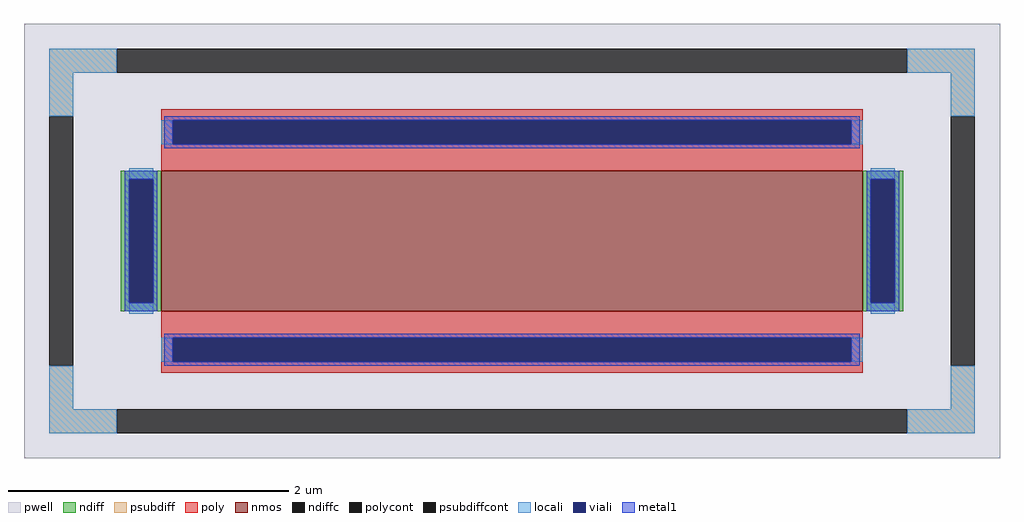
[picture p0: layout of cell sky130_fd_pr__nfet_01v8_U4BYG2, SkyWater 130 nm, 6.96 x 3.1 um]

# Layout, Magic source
magic
tech sky130A
<< pwell >>
rect -348 -155 348 155
<< nmos >>
rect -250 -50 250 50
<< ndiff >>
rect -279 44 -250 50
rect -279 -44 -273 44
rect -256 -44 -250 44
rect -279 -50 -250 -44
rect 250 44 279 50
rect 250 -44 256 44
rect 273 -44 279 44
rect 250 -50 279 -44
<< ndiffc >>
rect -273 -44 -256 44
rect 256 -44 273 44
<< psubdiff >>
rect -330 120 -282 137
rect 282 120 330 137
rect -330 89 -313 120
rect 313 89 330 120
rect -330 -120 -313 -89
rect 313 -120 330 -89
rect -330 -137 -282 -120
rect 282 -137 330 -120
<< psubdiffcont >>
rect -282 120 282 137
rect -330 -89 -313 89
rect 313 -89 330 89
rect -282 -137 282 -120
<< poly >>
rect -250 86 250 94
rect -250 69 -242 86
rect 242 69 250 86
rect -250 50 250 69
rect -250 -69 250 -50
rect -250 -86 -242 -69
rect 242 -86 250 -69
rect -250 -94 250 -86
<< polycont >>
rect -242 69 242 86
rect -242 -86 242 -69
<< locali >>
rect -330 120 -282 137
rect 282 120 330 137
rect -330 89 -313 120
rect 313 89 330 120
rect -250 69 -242 86
rect 242 69 250 86
rect -273 44 -256 52
rect -273 -52 -256 -44
rect 256 44 273 52
rect 256 -52 273 -44
rect -250 -86 -242 -69
rect 242 -86 250 -69
rect -330 -120 -313 -89
rect 313 -120 330 -89
rect -330 -137 -282 -120
rect 282 -137 330 -120
<< viali >>
rect -242 69 242 86
rect -273 -44 -256 44
rect 256 -44 273 44
rect -242 -86 242 -69
<< metal1 >>
rect -248 86 248 89
rect -248 69 -242 86
rect 242 69 248 86
rect -248 66 248 69
rect -276 44 -253 50
rect -276 -44 -273 44
rect -256 -44 -253 44
rect -276 -50 -253 -44
rect 253 44 276 50
rect 253 -44 256 44
rect 273 -44 276 44
rect 253 -50 276 -44
rect -248 -69 248 -66
rect -248 -86 -242 -69
rect 242 -86 248 -69
rect -248 -89 248 -86
<< properties >>
string FIXED_BBOX -321 -128 321 128
string gencell sky130_fd_pr__nfet_01v8
string library sky130
string parameters w 1.0 l 5.0 m 1 nf 1 diffcov 100 polycov 100 guard 1 glc 1 grc 1 gtc 1 gbc 1 tbcov 100 rlcov 100 topc 1 botc 1 poverlap 0 doverlap 1 lmin 0.15 wmin 0.42 compatible {sky130_fd_pr__nfet_01v8 sky130_fd_pr__nfet_01v8_lvt  sky130_fd_bs_flash__special_sonosfet_star  sky130_fd_pr__nfet_g5v0d10v5 sky130_fd_pr__nfet_05v0_nvt  sky130_fd_pr__nfet_03v3_nvt} full_metal 1 viasrc 100 viadrn 100 viagate 100 viagb 0 viagr 0 viagl 0 viagt 0
<< end >>
